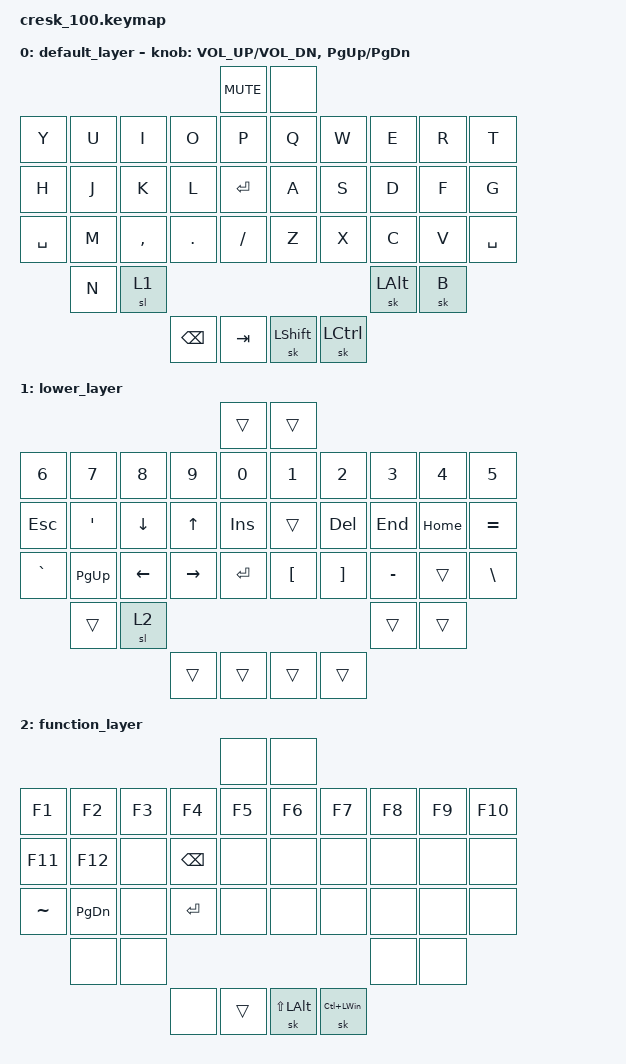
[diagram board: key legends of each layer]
/*
 * Copyright (c) 2022 The ZMK Contributors
 *
 * SPDX-License-Identifier: MIT
 */

#include <behaviors.dtsi>
#include <dt-bindings/zmk/keys.h>

&sk {
    release-after-ms = <600>;
    quick-release;
};

&sl {
    release-after-ms = <600>;
};

/ {
    keymap {
        compatible = "zmk,keymap";

        default_layer {
            bindings = <
                                         &kp C_MUTE    &none
&kp Y      &kp U     &kp I      &kp O    &kp P         &kp Q        &kp W        &kp E     &kp R     &kp T
&kp H      &kp J     &kp K      &kp L    &kp RET       &kp A        &kp S        &kp D     &kp F     &kp G
&kp SPACE  &kp M     &kp COMMA  &kp DOT  &kp FSLH      &kp Z        &kp X        &kp C     &kp V     &kp SPACE
           &kp N     &sl 1                                                &sk LALT      &sk B 
                              &kp BSPC &kp TAB       &sk LSHIFT   &sk LCTRL
            >;

            sensor-bindings = <&inc_dec_kp C_VOL_UP C_VOL_DN
                               &inc_dec_kp PG_UP PG_DN>;
        }
;
        lower_layer {
            bindings = <
                                       &trans        &trans
&kp N6     &kp N7    &kp N8   &kp N9   &kp N0        &kp N1       &kp N2       &kp N3    &kp N4   &kp N5
&kp ESC    &kp SQT   &kp DOWN &kp UP   &kp INS       &trans       &kp DEL      &kp END   &kp HOME  &kp EQUAL
&kp GRAVE  &kp PG_UP &kp LEFT &kp RIGHT  &kp RET      &kp LBKT    &kp RBKT     &kp MINUS &trans &kp BSLH
           &trans    &sl 2                                                    &trans    &trans
                              &trans    &trans        &trans     &trans
            >;
        };

        function_layer {
            bindings = <
                                       &none         &none
&kp F1     &kp F2    &kp F3   &kp F4   &kp F5        &kp F6       &kp F7       &kp F8    &kp F9    &kp F10
&kp F11    &kp F12   &none    &kp BSPC &none         &none        &none        &none     &none     &none
&kp TILDE  &kp PG_DN &none    &kp RET  &none         &none        &none        &none     &none     &none
           &none     &none                                                     &none     &none
                              &none    &trans        &sk LS(LALT) &sk LC(LWIN)
            >;
        };
    };
};
